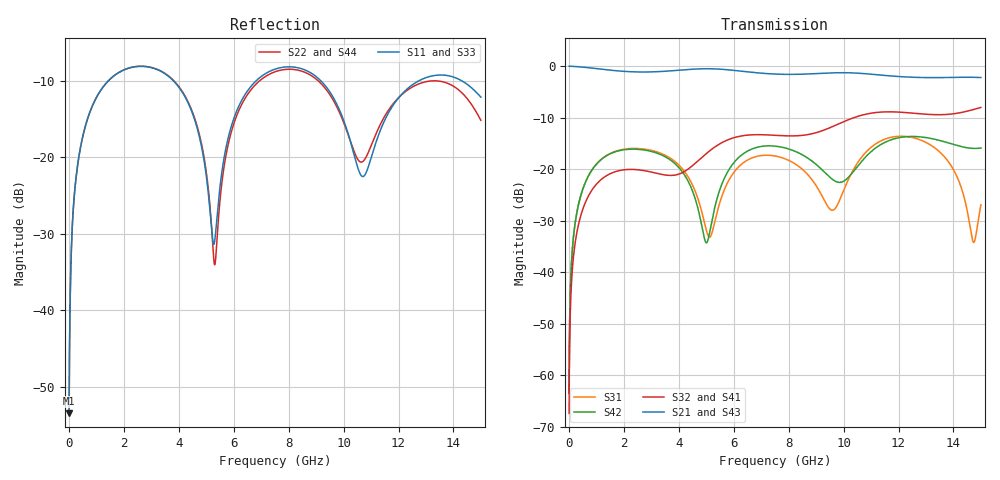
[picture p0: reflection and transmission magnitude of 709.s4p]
! Created with skrf 1.8.0 (http://scikit-rf.org).
# GHz S RI R 50.0
!freq ReS11 ImS11 ReS12 ImS12 ReS13 ImS13
! ReS14 ImS14
! ReS21 ImS21 ReS22 ImS22 ReS23 ImS23
! ReS24 ImS24
! ReS31 ImS31 ReS32 ImS32 ReS33 ImS33
! ReS34 ImS34
! ReS41 ImS41 ReS42 ImS42 ReS43 ImS43
! ReS44 ImS44
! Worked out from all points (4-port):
!   2499 points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, 5 MHz to 15 GHz, reference 50 ohm
!   strongest paths, dB at 5 MHz, 3.476 GHz, 7.19 GHz, 11.1 GHz, 15 GHz:
!     S21: 0.0, -1.0, -1.4, -1.6, -2.2
!     S43: 0.0, -1.0, -1.4, -1.6, -2.2
!     S32: -67.4, -21.1, -13.3, -9.1, -8.0
!     S41: -67.4, -21.2, -13.4, -9.1, -8.0
!     S42: -63.4, -17.5, -15.5, -16.2, -15.9
!     S31: -63.4, -17.2, -17.3, -15.4, -26.9
!   lowest |S11| = -53.4 dB at 5 MHz (marker M1), VSWR 1.00, Z = 50.2 + j0.129 ohm
!   |S11| at or under -10 dB: start of sweep to 1.441 GHz; 3.799 GHz to 6.821 GHz (3.022 GHz wide, 56.9 % of centre); 9.168 GHz to 12.75 GHz (3.581 GHz wide, 32.7 % of centre) (the widest 3 of 4)
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0.005  0.00169 0.00129  0.9983 -0.0033  8.51e-05 0.000668  -8.27e-05 -0.000419
       0.9983 -0.0033  0.00169 0.00129  -8.27e-05 -0.000419  8.51e-05 0.000668
       8.51e-05 0.000668  -8.27e-05 -0.000419  0.00169 0.00129  0.9983 -0.0033
       -8.27e-05 -0.000419  8.51e-05 0.000668  0.9983 -0.0033  0.00169 0.00129
0.3626511  0.0319 0.0962  0.956 -0.2356  0.0153 0.0448  -0.0126 -0.0275
           0.956 -0.2356  0.0319 0.0962  -0.0126 -0.0275  0.015 0.0449
           0.0153 0.0448  -0.0126 -0.0275  0.0319 0.0962  0.9559 -0.2356
           -0.0126 -0.0275  0.015 0.0449  0.9559 -0.2356  0.032 0.0962
1.67  0.3021 0.1631  0.4741 -0.7696  0.1405 0.0474  -0.0938 0.00639
      0.4741 -0.7696  0.3033 0.1622  -0.0939 0.0066  0.137 0.0533
      0.1405 0.0474  -0.0939 0.0066  0.3021 0.1632  0.4741 -0.7696
      -0.0938 0.00639  0.137 0.0533  0.4741 -0.7696  0.3035 0.1621
5.308462  0.0273 0.00844  -0.9377 -0.0563  -0.0157 0.0265  -0.00663 0.1638
          -0.9377 -0.0563  0.0198 -2.05e-05  -0.00355 0.1639  0.0295 0.0305
          -0.0157 0.0265  -0.00355 0.1639  0.029 0.00743  -0.9376 -0.0564
          -0.00663 0.1638  0.0295 0.0305  -0.9376 -0.0564  0.0184 -0.00103
8.140892  0.3881 -0.0227  -0.0225 0.8308  0.0994 -0.0606  0.2052 -0.0398
          -0.0225 0.8308  0.3748 -0.00662  0.2051 -0.0457  0.1048 -0.1106
          0.0994 -0.0606  0.2051 -0.0457  0.3872 -0.0239  -0.0217 0.8309
          0.2052 -0.0398  0.1048 -0.1106  -0.0217 0.8309  0.3752 -0.00667
10.96707  0.0866 0.0374  0.8345 -0.049  0.0486 0.1525  -0.0328 -0.3462
          0.8345 -0.049  0.1071 0.0412  -0.0439 -0.3451  0.0305 0.1419
          0.0486 0.1525  -0.0439 -0.3451  0.0873 0.0351  0.8343 -0.0509
          -0.0328 -0.3462  0.0305 0.1419  0.8343 -0.0509  0.1065 0.0431
15  0.2153 -0.1207  -0.5412 -0.5543  -0.0279 0.0353  -0.2924 0.2694
    -0.5412 -0.5543  0.1601 -0.0687  -0.2783 0.2832  -0.1463 -0.0658
    -0.0279 0.0353  -0.2783 0.2832  0.2148 -0.1198  -0.5452 -0.5508
    -0.2924 0.2694  -0.1463 -0.0658  -0.5452 -0.5508  0.1528 -0.0699
